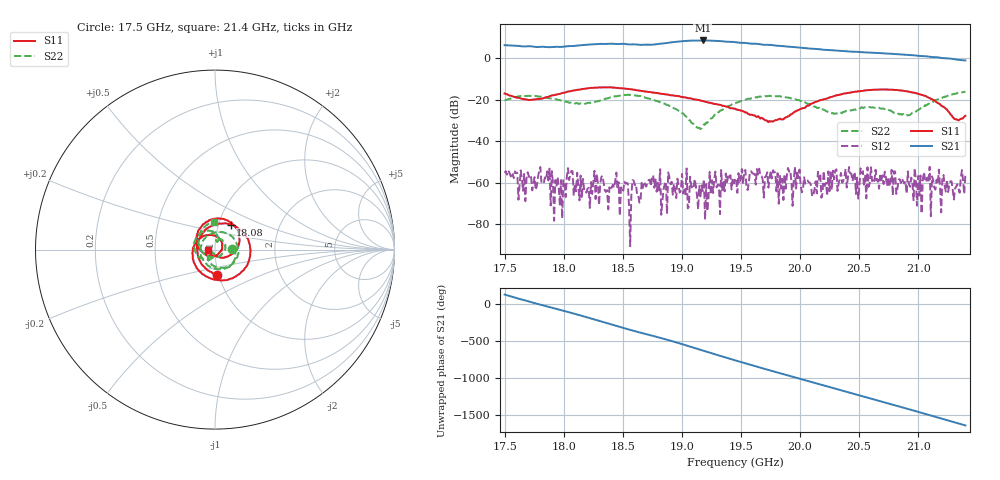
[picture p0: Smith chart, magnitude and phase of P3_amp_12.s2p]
!Created with skrf (http://scikit-rf.org).
# GHz S RI R 50.0
!freq ReS11 ImS11 ReS21 ImS21 ReS12 ImS12 ReS22 ImS22
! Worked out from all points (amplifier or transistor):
!   401 points, 17.5 GHz to 21.4 GHz, reference 50 ohm
!   highest |S21| = 8.6 dB at 19.18 GHz (marker M1)
!   |S21| within 3 dB of that: 18 GHz to 19.91 GHz (1.909 GHz wide, 10.1 % of centre) (the widest 1 of 2)
!   unconditionally stable (mu >= 1): start of sweep to end of sweep
!   at 18.14 GHz: K = 157.51, MAG = 6.4 dB, |S12| = -56.6 dB
!   at 19.45 GHz: K = 159.07, MAG = 7.9 dB, |S12| = -57.9 dB
!   at 21.4 GHz: K = 346.63, MAG = -1.0 dB, |S12| = -56.0 dB
!   S11 on the Smith chart (normalised r, x): 17.5 GHz: 0.98, -0.28; 18.08 GHz: 1.14, +0.33; 21.4 GHz: 0.92, -0.01
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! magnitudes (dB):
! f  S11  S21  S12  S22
! 17.5 GHz  -17.0  6.3  -55.3  -20.4
! 17.64 GHz  -19.4  5.8  -54.1  -18.2
! 17.86 GHz  -18.7  5.4  -54.5  -19.2
! 17.98 GHz  -17.0  5.5  -58.8  -20.4
! 18.08 GHz  -15.7  5.9  -54.5  -21.4
! 18.15 GHz  -15.0  6.3  -67.5  -21.9
! 18.52 GHz  -14.7  6.9  -60.6  -17.8
! 18.55 GHz  -14.8  6.7  -71.1  -17.7
! 18.74 GHz  -16.3  6.5  -61.8  -19.7
! 18.81 GHz  -17.0  7.0  -64.4  -21.0
! 19.18 GHz  -20.6  8.6  -64.1  -32.8
! 19.45 GHz  -24.2  7.8  -57.9  -21.6
! 19.75 GHz  -30.6  6.4  -54.3  -18.2
! 19.84 GHz  -29.5  5.9  -62.8  -18.5
! 19.98 GHz  -25.1  5.3  -54.4  -20.1
! 20.1 GHz  -21.8  4.6  -66.6  -23.1
! 20.29 GHz  -18.2  3.8  -58.4  -26.9
! 20.76 GHz  -15.1  2.2  -62.0  -25.1
! 21.01 GHz  -17.3  1.1  -66.2  -24.7
! 21.06 GHz  -18.1  1.0  -58.5  -22.6
! 21.13 GHz  -20.1  0.6  -58.7  -21.0
! 21.4 GHz  -27.8  -1.1  -56.0  -16.1
